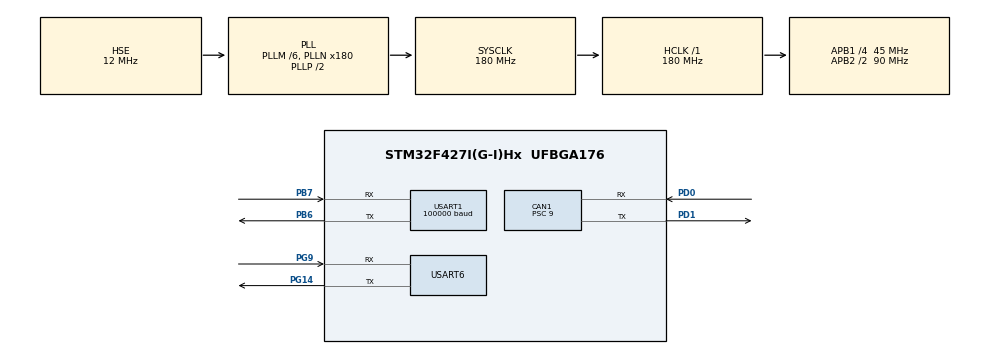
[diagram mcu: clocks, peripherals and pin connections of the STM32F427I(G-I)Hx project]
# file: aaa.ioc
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CAN1.BS1=CAN_BS1_3TQ
CAN1.CalculateBaudRate=1000000
CAN1.CalculateTimeBit=1000.00
CAN1.CalculateTimeQuantum=200.0
CAN1.Prescaler=9
Dma.Request0=USART1_RX
Dma.Request1=USART6_RX
Dma.USART1_RX.0.Direction=DMA_PERIPH_TO_MEMORY
Dma.USART1_RX.0.FIFOMode=DMA_FIFOMODE_DISABLE
Dma.USART1_RX.0.Instance=DMA2_Stream2
Dma.USART1_RX.0.MemDataAlignment=DMA_MDATAALIGN_BYTE
Dma.USART1_RX.0.MemInc=DMA_MINC_ENABLE
Dma.USART1_RX.0.Mode=DMA_CIRCULAR
Dma.USART1_RX.0.PeriphDataAlignment=DMA_PDATAALIGN_BYTE
Dma.USART1_RX.0.PeriphInc=DMA_PINC_DISABLE
Dma.USART1_RX.0.Priority=DMA_PRIORITY_LOW
Dma.USART6_RX.1.Direction=DMA_PERIPH_TO_MEMORY
Dma.USART6_RX.1.FIFOMode=DMA_FIFOMODE_DISABLE
Dma.USART6_RX.1.Instance=DMA2_Stream1
Dma.USART6_RX.1.MemDataAlignment=DMA_MDATAALIGN_BYTE
Dma.USART6_RX.1.MemInc=DMA_MINC_ENABLE
Dma.USART6_RX.1.Mode=DMA_CIRCULAR
Dma.USART6_RX.1.PeriphDataAlignment=DMA_PDATAALIGN_BYTE
Dma.USART6_RX.1.PeriphInc=DMA_PINC_DISABLE
Dma.USART6_RX.1.Priority=DMA_PRIORITY_LOW
Mcu.Family=STM32F4
Mcu.Name=STM32F427I(G-I)Hx
Mcu.Package=UFBGA176
NVIC.CAN1_RX0_IRQn=true\:0\:0\:false\:false\:true\:true\:true
NVIC.DMA2_Stream1_IRQn=true\:0\:0\:false\:false\:true\:false\:true
NVIC.DMA2_Stream2_IRQn=true\:0\:0\:false\:false\:true\:false\:true
NVIC.PriorityGroup=NVIC_PRIORITYGROUP_4
PA13.Mode=Serial_Wire
PA13.Signal=SYS_JTMS-SWDIO
PA14.Mode=Serial_Wire
PA14.Signal=SYS_JTCK-SWCLK
PB6.Mode=Asynchronous
PB6.Signal=USART1_TX
PB7.Mode=Asynchronous
PB7.Signal=USART1_RX
PD0.Mode=CAN_Activate
PD0.Signal=CAN1_RX
PD1.Mode=CAN_Activate
PD1.Signal=CAN1_TX
PG14.Mode=Asynchronous
PG14.Signal=USART6_TX
PG9.Mode=Asynchronous
PG9.Signal=USART6_RX
PH0/OSC_IN.Mode=HSE-External-Oscillator
PH0/OSC_IN.Signal=RCC_OSC_IN
PH1/OSC_OUT.Mode=HSE-External-Oscillator
PH1/OSC_OUT.Signal=RCC_OSC_OUT
ProjectManager.HeapSize=0x200
ProjectManager.StackSize=0x400
ProjectManager.TargetToolchain=MDK-ARM V5.27
RCC.48MHZClocksFreq_Value=90000000
RCC.AHBFreq_Value=180000000
RCC.APB1CLKDivider=RCC_HCLK_DIV4
RCC.APB1Freq_Value=45000000
RCC.APB1TimFreq_Value=90000000
RCC.APB2CLKDivider=RCC_HCLK_DIV2
RCC.APB2Freq_Value=90000000
RCC.APB2TimFreq_Value=180000000
RCC.CortexFreq_Value=180000000
RCC.HCLKFreq_Value=180000000
RCC.HSE_VALUE=12000000
RCC.HSI_VALUE=16000000
RCC.LSE_VALUE=32768
RCC.PLLM=6
RCC.PLLN=180
RCC.PLLSourceVirtual=RCC_PLLSOURCE_HSE
RCC.SYSCLKFreq_VALUE=180000000
RCC.SYSCLKSource=RCC_SYSCLKSOURCE_PLLCLK
RCC.VCOOutputFreq_Value=360000000
USART1.BaudRate=100000
USART1.VirtualMode=VM_ASYNC
USART6.VirtualMode=VM_ASYNC
board=custom

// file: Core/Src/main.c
/* USER CODE BEGIN Header */
/**
  ******************************************************************************
  * @file           : main.c
  * @brief          : Main program body
  ******************************************************************************
  * @attention
  *
  * <h2><center>&copy; Copyright (c) 2022 STMicroelectronics.
  * All rights reserved.</center></h2>
  *
  * This software component is licensed by ST under Ultimate Liberty license
  * SLA0044, the "License"; You may not use this file except in compliance with
  * the License. You may obtain a copy of the License at:
  *                             www.st.com/SLA0044
  *
  ******************************************************************************
  */
/* USER CODE END Header */
#include "main.h"
#include "can.h"
#include "dma.h"
#include "usart.h"
#include "gpio.h"

/* USER CODE BEGIN Includes */
#include "omni.h"
#include "Caculate.h"
#include "DJI.h"
#include "wtr_can.h"
#include "wtr_uart.h"
#include "math.h"
#include "nrf_com.h"
/* USER CODE END Includes */

/* USER CODE BEGIN PV */
double robot_vx = 0;
double robot_vy = 0;
double robot_rot = 0;
/* USER CODE END PV */

void SystemClock_Config(void);

int main(void)
{

  /* MCU Configuration--------------------------------------------------------*/

  /* Reset of all peripherals, Initializes the Flash interface and the Systick. */
  HAL_Init();

  /* Configure the system clock */
  SystemClock_Config();

  /* Initialize all configured peripherals */
  MX_GPIO_Init();
  MX_DMA_Init();
  MX_CAN1_Init();
  MX_USART1_UART_Init();
  MX_USART6_UART_Init();
  /* USER CODE BEGIN 2 */
	CANFilterInit(&hcan1);

	hDJI[0].motorType = M3508;
	hDJI[1].motorType = M3508;
	hDJI[2].motorType = M3508;
	hDJI[3].motorType = M3508;

	DJI_Init();

	Kine_Init(0.55,0.55,0,0);

	HAL_UART_Receive_DMA(&huart1,JoyStickReceiveData,18);

	nrf_receive_init();
	/* USER CODE END 2 */

  /* Infinite loop */
  /* USER CODE BEGIN WHILE */
  while (1)
  {
    robot_vx = (ch2 - 1024)*3;
		robot_vy = (ch3 - 1024)*3;
		robot_rot = -(ch0 - 1024)*5;

		Kine_SetSpeed(robot_vx,robot_vy,robot_rot);

		speedServo(-wheel[0].speed,&hDJI[0]);
		speedServo(-wheel[1].speed,&hDJI[1]);
		speedServo(-wheel[2].speed,&hDJI[2]);
		speedServo(-wheel[3].speed,&hDJI[3]);

		CanTransmit_DJI_1234(&hcan1,
                             hDJI[0].speedPID.output,
                             hDJI[1].speedPID.output,
                             hDJI[2].speedPID.output,
                             hDJI[3].speedPID.output);
    /* USER CODE END WHILE */

    /* USER CODE BEGIN 3 */
		HAL_Delay(1);
		wheel[0].speed = 	wheel[1].speed = 	wheel[2].speed = 	wheel[3].speed = 0;
  }
  /* USER CODE END 3 */
}

void SystemClock_Config(void)
{
  RCC_OscInitTypeDef RCC_OscInitStruct = {0};
  RCC_ClkInitTypeDef RCC_ClkInitStruct = {0};

  /** Configure the main internal regulator output voltage
  */
  __HAL_RCC_PWR_CLK_ENABLE();
  __HAL_PWR_VOLTAGESCALING_CONFIG(PWR_REGULATOR_VOLTAGE_SCALE1);
  /** Initializes the RCC Oscillators according to the specified parameters
  * in the RCC_OscInitTypeDef structure.
  */
  RCC_OscInitStruct.OscillatorType = RCC_OSCILLATORTYPE_HSE;
  RCC_OscInitStruct.HSEState = RCC_HSE_ON;
  RCC_OscInitStruct.PLL.PLLState = RCC_PLL_ON;
  RCC_OscInitStruct.PLL.PLLSource = RCC_PLLSOURCE_HSE;
  RCC_OscInitStruct.PLL.PLLM = 6;
  RCC_OscInitStruct.PLL.PLLN = 180;
  RCC_OscInitStruct.PLL.PLLP = RCC_PLLP_DIV2;
  RCC_OscInitStruct.PLL.PLLQ = 4;
  if (HAL_RCC_OscConfig(&RCC_OscInitStruct) != HAL_OK)
  {
    Error_Handler();
  }
  /** Activate the Over-Drive mode
  */
  if (HAL_PWREx_EnableOverDrive() != HAL_OK)
  {
    Error_Handler();
  }
  /** Initializes the CPU, AHB and APB buses clocks
  */
  RCC_ClkInitStruct.ClockType = RCC_CLOCKTYPE_HCLK|RCC_CLOCKTYPE_SYSCLK
                              |RCC_CLOCKTYPE_PCLK1|RCC_CLOCKTYPE_PCLK2;
  RCC_ClkInitStruct.SYSCLKSource = RCC_SYSCLKSOURCE_PLLCLK;
  RCC_ClkInitStruct.AHBCLKDivider = RCC_SYSCLK_DIV1;
  RCC_ClkInitStruct.APB1CLKDivider = RCC_HCLK_DIV4;
  RCC_ClkInitStruct.APB2CLKDivider = RCC_HCLK_DIV2;

  if (HAL_RCC_ClockConfig(&RCC_ClkInitStruct, FLASH_LATENCY_5) != HAL_OK)
  {
    Error_Handler();
  }
}

void Error_Handler(void)
{
  __disable_irq();
  while (1)
  {
  }
}

/************************ (C) COPYRIGHT STMicroelectronics *****END OF FILE****/
